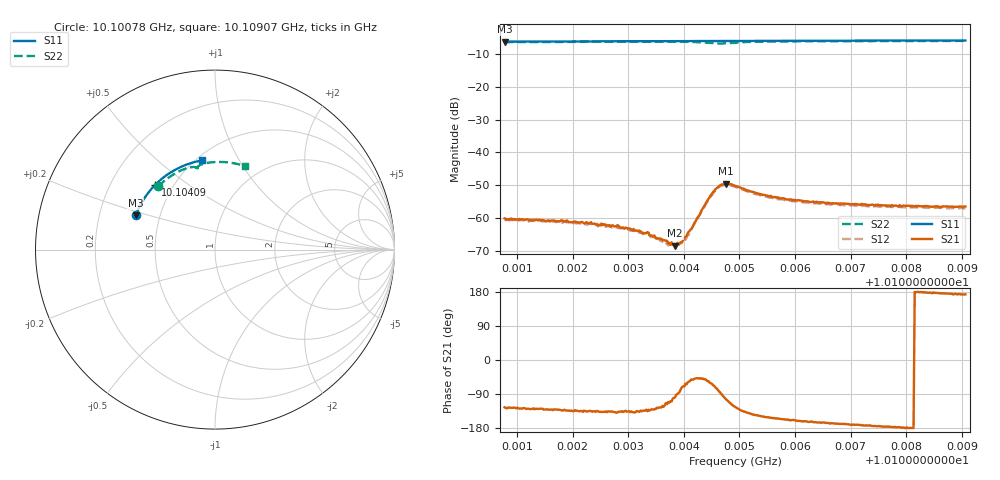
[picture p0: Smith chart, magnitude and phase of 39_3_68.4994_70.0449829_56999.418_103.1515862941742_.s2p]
#  HZ  S  RI  R  50.00
! Rohde & Schwarz Vector Network Analyzer
! Rohde-Schwarz,ZNB20-2Port,1311601062101988,3.16
! Created: UTC 3/20/2024, 5:05:25 PM
! freq[Hz]  re:S11  im:S11  re:S21  im:S21  re:S12  im:S12  re:S22  im:S22
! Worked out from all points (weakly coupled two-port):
!   401 points, 10.10078 GHz to 10.10907 GHz, reference 50 ohm
!   highest |S21| = -49.49 dB at 10.10475 GHz (marker M1); lowest = -68.3 dB at 10.10384 GHz (marker M2)
!   lowest |S11| = -6.4 dB at 10.10078 GHz (marker M3), VSWR 2.85, Z = 18.2 + j9.01 ohm
!   |S11| at or under -10 dB: nowhere
!   |S22| runs from -6.9 to -6.1 dB; largest |S21 - S12| = 0.00034
!   S11 on the Smith chart (normalised r, x): 10.10078 GHz: 0.36, +0.18; 10.10409 GHz: 0.40, +0.38; 10.10907 GHz: 0.54, +0.71
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1.0100776e10  -0.4415 0.1904  -0.000571 -0.000818  -0.00048 -0.000818  -0.3164 0.3522
1.0102164e10  -0.4055 0.2668  -0.000624 -0.000629  -0.000541 -0.000658  -0.2467 0.409
1.0102807e10  -0.3845 0.2996  -0.000589 -0.000526  -0.000485 -0.000546  -0.2104 0.4307
1.0103117e10  -0.3732 0.3148  -0.000489 -0.00043  -0.000415 -0.000488  -0.1917 0.44
1.0103325e10  -0.3656 0.325  -0.000389 -0.000449  -0.000345 -0.000458  -0.1788 0.4458
1.0103553e10  -0.3567 0.3355  -0.000284 -0.0004  -0.000274 -0.000397  -0.1642 0.4513
1.0103718e10  -0.35 0.3429  -0.000149 -0.000388  -0.000114 -0.000371  -0.1528 0.4549
1.0103843e10  -0.345 0.3485  -5.53e-05 -0.00038  -2.17e-06 -0.000394  -0.144 0.4574
1.0103946e10  -0.3406 0.3532  9.85e-05 -0.000422  0.000118 -0.000402  -0.1363 0.459
1.0104008e10  -0.3382 0.356  0.000174 -0.000471  0.000203 -0.000412  -0.1316 0.4599
1.0104091e10  -0.3345 0.3595  0.000345 -0.000527  0.000345 -0.000452  -0.125 0.4604
1.0104361e10  -0.3228 0.3709  0.000951 -0.00117  0.000999 -0.00107  -0.1029 0.4565
1.0104527e10  -0.3155 0.3778  0.000997 -0.00231  0.00116 -0.0021  -0.0945 0.4467
1.010463e10  -0.3108 0.3818  0.000406 -0.00303  0.000648 -0.00288  -0.0963 0.4411
1.0104755e10  -0.3053 0.3869  -0.000759 -0.00327  -0.000444 -0.00319  -0.1022 0.4427
1.010492e10  -0.2977 0.3934  -0.00173 -0.0026  -0.00144 -0.00266  -0.1018 0.4545
1.0105169e10  -0.286 0.4029  -0.00202 -0.00168  -0.0018 -0.00178  -0.0873 0.4686
1.0105501e10  -0.2698 0.4148  -0.00194 -0.00106  -0.00174 -0.00121  -0.0641 0.4782
1.0105853e10  -0.2522 0.4267  -0.00179 -0.000749  -0.00166 -0.000874  -0.0399 0.4836
1.0106309e10  -0.2286 0.4409  -0.0017 -0.000529  -0.00159 -0.000633  -0.00937 0.4874
1.0107697e10  -0.1523 0.4759  -0.00156 -9.43e-05  -0.00148 -0.000239  0.0809 0.4847
1.0109065e10  -0.0723 0.4967  -0.0015 0.000178  -0.00144 2.61e-05  0.1662 0.4656
